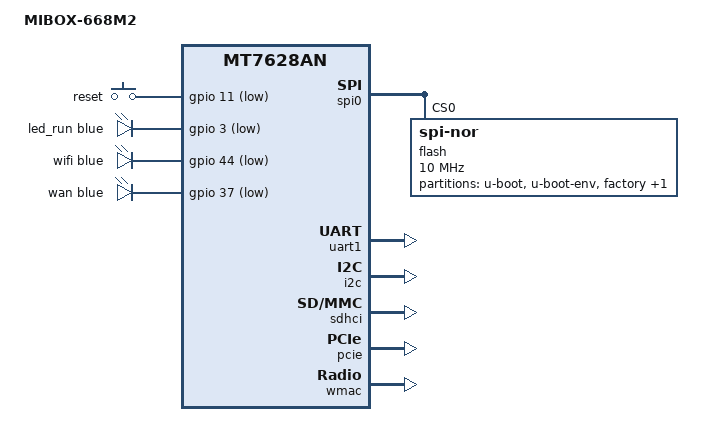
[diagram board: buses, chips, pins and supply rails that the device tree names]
// SPDX-License-Identifier: GPL-2.0-or-later OR MIT
/*
 * Device Tree Source for MIBOX-668M2 (蜂助手 S1 4G CPE)
 *
 * 硬件：MediaTek MT7628DAN + 2x Quectel EC200（EC200T CAT4 / EC200N CAT1）
 *       8MB SPI-NOR flash / 64MB DDR2
 *
 * 来源说明（重要）：
 *   本文件以 OpenWrt 官方主线 target/linux/ramips/dts/mt7628an_wrtnode_wrtnode2.dtsi
 *   为骨架。经本项目对社区固件 DTB 的反编译对比，确认社区固件的设备树即该板子的
 *   改版（分区布局逐字节一致）。相对官方模板，本板差异均以 ★ 标注。
 *
 *   分区布局（与 WRTnode 2P 相同）：
 *     u-boot      @ 0x000000  0x030000  read-only
 *     u-boot-env  @ 0x030000  0x010000  read-only
 *     factory     @ 0x040000  0x010000  read-only   （MAC 在偏移 0x28，EEPROM 在 0x0）
 *     firmware    @ 0x050000  0x1FB000
 */

#include "mt7628an.dtsi"

#include <dt-bindings/gpio/gpio.h>
#include <dt-bindings/input/input.h>
#include <dt-bindings/leds/common.h>

/ {
	compatible = "mibox,668m2", "mediatek,mt7628an-soc";   /* ★改：本板 compatible */
	model = "MIBOX-668M2";                                 /* ★改：本板 model */

	chosen {
		bootargs = "console=ttyS0,57600";              /* ★改：波特率 57600 */
	};

	aliases {                                              /* ★加：LED 别名 */
		led-boot = &led_run;
		led-failsafe = &led_run;
		led-running = &led_run;
		led-upgrade = &led_run;
	};

	keys {
		compatible = "gpio-keys";

		reset {
			label = "reset";
			gpios = <&gpio 11 GPIO_ACTIVE_LOW>;        /* ★改：reset = GPIO11 */
			linux,code = <KEY_RESTART>;
		};
	};

	leds {                                                 /* ★加：run / wifi / wan */
		compatible = "gpio-leds";

		led_run: run {
			function = LED_FUNCTION_STATUS;
			color = <LED_COLOR_ID_BLUE>;
			gpios = <&gpio 3 GPIO_ACTIVE_LOW>;
		};

		wifi {
			function = LED_FUNCTION_WLAN;
			color = <LED_COLOR_ID_BLUE>;
			gpios = <&gpio 44 GPIO_ACTIVE_LOW>;
			linux,default-trigger = "phy0tpt";
		};

		wan {
			function = LED_FUNCTION_WAN;
			color = <LED_COLOR_ID_BLUE>;
			gpios = <&gpio 37 GPIO_ACTIVE_LOW>;
		};
	};
};

&state_default {
	/* ★改：按社区固件实际值覆盖 gpio 复用组；★不包含 i2c（模组上电要保持 i2c 功能） */
	gpio {
		groups = "gpio", "refclk", "wdt", "wled_an";
		function = "gpio";
	};
};

&spi0 {
	status = "okay";

	flash@0 {
		compatible = "jedec,spi-nor";
		reg = <0>;
		spi-max-frequency = <10000000>;
		broken-flash-reset;

		partitions {
			compatible = "fixed-partitions";
			#address-cells = <1>;
			#size-cells = <1>;

			partition@0 {
				label = "u-boot";
				reg = <0x0 0x30000>;
				read-only;
			};

			partition@30000 {
				label = "u-boot-env";
				reg = <0x30000 0x10000>;
				read-only;
			};

			partition@40000 {
				label = "factory";
				reg = <0x40000 0x10000>;
				read-only;

				nvmem-layout {
					compatible = "fixed-layout";
					#address-cells = <1>;
					#size-cells = <1>;

					eeprom_factory_0: eeprom@0 {
						reg = <0x0 0x400>;
					};

					macaddr_factory_28: macaddr@28 {   /* ★改：MAC @ 0x28 */
						reg = <0x28 0x6>;
					};
				};
			};

			partition@50000 {
				compatible = "denx,uimage";
				label = "firmware";
				reg = <0x50000 0x1fb0000>;
			};
		};
	};
};

&uart1 {
	status = "okay";
};

&i2c {                                                     /* ★关键：EC200 上电经 I2C 0x39 */
	status = "okay";
};

&ethernet {
	nvmem-cells = <&macaddr_factory_28>;                   /* ★改：MAC 来源 */
	nvmem-cell-names = "mac-address";
};

&esw {
	mediatek,portmap = <0x07>;                             /* ★改：端口映射（WAN 在 1 号口） */
};

&sdhci {
	status = "okay";                                       /* 与官方模板一致 */
};

&pcie {
	status = "okay";                                       /* 与官方模板一致 */
};

&wmac {
	status = "okay";

	nvmem-cells = <&eeprom_factory_0>;
	nvmem-cell-names = "eeprom";
};
